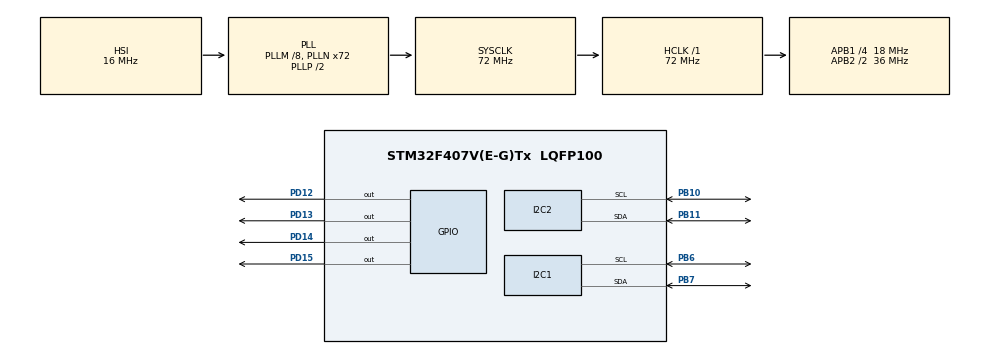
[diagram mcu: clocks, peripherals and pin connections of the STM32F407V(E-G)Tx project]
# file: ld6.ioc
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Mcu.Family=STM32F4
Mcu.Name=STM32F407V(E-G)Tx
Mcu.Package=LQFP100
NVIC.PriorityGroup=NVIC_PRIORITYGROUP_0
PA13.Mode=Trace_Asynchronous_SW
PA13.Signal=SYS_JTMS-SWDIO
PA14.Mode=Trace_Asynchronous_SW
PA14.Signal=SYS_JTCK-SWCLK
PB10.GPIO_Pu=GPIO_PULLUP
PB10.Mode=I2C
PB10.Signal=I2C2_SCL
PB11.GPIO_Pu=GPIO_PULLUP
PB11.Mode=I2C
PB11.Signal=I2C2_SDA
PB3.Mode=Trace_Asynchronous_SW
PB3.Signal=SYS_JTDO-SWO
PB6.GPIO_Pu=GPIO_PULLUP
PB6.Mode=I2C
PB6.Signal=I2C1_SCL
PB7.GPIO_Pu=GPIO_PULLUP
PB7.Mode=I2C
PB7.Signal=I2C1_SDA
PD12.Signal=GPIO_Output
PD13.Signal=GPIO_Output
PD14.Signal=GPIO_Output
PD15.Signal=GPIO_Output
ProjectManager.HeapSize=0x200
ProjectManager.StackSize=0x400
ProjectManager.TargetToolchain=STM32CubeIDE
RCC.48MHZClocksFreq_Value=20571428.57142857
RCC.AHBFreq_Value=72000000
RCC.APB1CLKDivider=RCC_HCLK_DIV4
RCC.APB1Freq_Value=18000000
RCC.APB1TimFreq_Value=36000000
RCC.APB2CLKDivider=RCC_HCLK_DIV2
RCC.APB2Freq_Value=36000000
RCC.APB2TimFreq_Value=72000000
RCC.CortexFreq_Value=72000000
RCC.HCLKFreq_Value=72000000
RCC.HSE_VALUE=8000000
RCC.HSI_VALUE=16000000
RCC.PLLM=8
RCC.PLLN=72
RCC.PLLQ=7
RCC.SYSCLKFreq_VALUE=72000000
RCC.SYSCLKSource=RCC_SYSCLKSOURCE_PLLCLK
RCC.VCOOutputFreq_Value=144000000
board=STM32F407G-DISC1

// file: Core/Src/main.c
/* USER CODE BEGIN Header */
/**
  ******************************************************************************
  * @file           : main.c
  * @brief          : Main program body
  ******************************************************************************
  * @attention
  *
  * Copyright (c) 2024 STMicroelectronics.
  * All rights reserved.
  *
  * This software is licensed under terms that can be found in the LICENSE file
  * in the root directory of this software component.
  * If no LICENSE file comes with this software, it is provided AS-IS.
  *
  ******************************************************************************
  */
/* USER CODE END Header */
#include "main.h"

/* USER CODE BEGIN PD */
#define I2C_ADDRESS		0xFA
#define I2C_ADDRESS2		0xFB
/* USER CODE END PD */

I2C_HandleTypeDef hi2c1;
I2C_HandleTypeDef hi2c2;

/* USER CODE BEGIN PV */
uint8_t aTx = 0x01;
uint8_t aTxBuffer[3] = {0x01, 0x02, 0x01};

//uint8_t aRx;
//uint8_t aRxBuffer[3];
/* USER CODE END PV */

void SystemClock_Config(void);
static void MX_GPIO_Init(void);
static void MX_I2C2_Init(void);
static void MX_I2C1_Init(void);

int main(void)
{

  /* MCU Configuration--------------------------------------------------------*/

  /* Reset of all peripherals, Initializes the Flash interface and the Systick. */
  HAL_Init();

  /* Configure the system clock */
  SystemClock_Config();

  /* Initialize all configured peripherals */
  MX_GPIO_Init();
  MX_I2C2_Init();
  MX_I2C1_Init();

  /* Infinite loop */
  /* USER CODE BEGIN WHILE */
  int uzd = 2;
  int i = 0;
  while (1)
  {
    /* USER CODE END WHILE */

    /* USER CODE BEGIN 3 */
	  if (uzd==1) {
		  if (HAL_I2C_IsDeviceReady(&hi2c2, I2C_ADDRESS, 1, 10) == HAL_OK) {
		  		  HAL_GPIO_WritePin(GPIOD, GPIO_PIN_15, GPIO_PIN_SET);

		  		  HAL_I2C_Master_Transmit(&hi2c2, I2C_ADDRESS, &aTx, 1, 10);
		  	  } else {
		  		  HAL_GPIO_WritePin(GPIOD, GPIO_PIN_12, GPIO_PIN_SET);
		  	  }
	  }
	  if (uzd==2) {
		  if (HAL_I2C_IsDeviceReady(&hi2c1, I2C_ADDRESS, 1, 10) == HAL_OK) {
		  		  		  HAL_GPIO_WritePin(GPIOD, GPIO_PIN_15, GPIO_PIN_SET);

		  		  		  HAL_I2C_Master_Transmit(&hi2c1, I2C_ADDRESS, &aTxBuffer[i], 1, 10);
		  		  	  } else {
		  		  		  HAL_GPIO_WritePin(GPIOD, GPIO_PIN_12, GPIO_PIN_SET);
		  		  	  }
		  if (i < 3) {
			  i = i+1;
		  } else {
			  i = 0;
		  }
	  }

	  //if (i < 2) {
		//  i = i+1
	  //}
  }

  /* USER CODE END 3 */
}

void SystemClock_Config(void)
{
  RCC_OscInitTypeDef RCC_OscInitStruct = {0};
  RCC_ClkInitTypeDef RCC_ClkInitStruct = {0};

  /** Configure the main internal regulator output voltage
  */
  __HAL_RCC_PWR_CLK_ENABLE();
  __HAL_PWR_VOLTAGESCALING_CONFIG(PWR_REGULATOR_VOLTAGE_SCALE1);

  /** Initializes the RCC Oscillators according to the specified parameters
  * in the RCC_OscInitTypeDef structure.
  */
  RCC_OscInitStruct.OscillatorType = RCC_OSCILLATORTYPE_HSI;
  RCC_OscInitStruct.HSIState = RCC_HSI_ON;
  RCC_OscInitStruct.HSICalibrationValue = RCC_HSICALIBRATION_DEFAULT;
  RCC_OscInitStruct.PLL.PLLState = RCC_PLL_ON;
  RCC_OscInitStruct.PLL.PLLSource = RCC_PLLSOURCE_HSI;
  RCC_OscInitStruct.PLL.PLLM = 8;
  RCC_OscInitStruct.PLL.PLLN = 72;
  RCC_OscInitStruct.PLL.PLLP = RCC_PLLP_DIV2;
  RCC_OscInitStruct.PLL.PLLQ = 7;
  if (HAL_RCC_OscConfig(&RCC_OscInitStruct) != HAL_OK)
  {
    Error_Handler();
  }

  /** Initializes the CPU, AHB and APB buses clocks
  */
  RCC_ClkInitStruct.ClockType = RCC_CLOCKTYPE_HCLK|RCC_CLOCKTYPE_SYSCLK
                              |RCC_CLOCKTYPE_PCLK1|RCC_CLOCKTYPE_PCLK2;
  RCC_ClkInitStruct.SYSCLKSource = RCC_SYSCLKSOURCE_PLLCLK;
  RCC_ClkInitStruct.AHBCLKDivider = RCC_SYSCLK_DIV1;
  RCC_ClkInitStruct.APB1CLKDivider = RCC_HCLK_DIV4;
  RCC_ClkInitStruct.APB2CLKDivider = RCC_HCLK_DIV2;

  if (HAL_RCC_ClockConfig(&RCC_ClkInitStruct, FLASH_LATENCY_2) != HAL_OK)
  {
    Error_Handler();
  }
}

static void MX_I2C1_Init(void)
{

  hi2c1.Instance = I2C1;
  hi2c1.Init.ClockSpeed = 100000;
  hi2c1.Init.DutyCycle = I2C_DUTYCYCLE_2;
  hi2c1.Init.OwnAddress1 = 0;
  hi2c1.Init.AddressingMode = I2C_ADDRESSINGMODE_7BIT;
  hi2c1.Init.DualAddressMode = I2C_DUALADDRESS_DISABLE;
  hi2c1.Init.OwnAddress2 = 0;
  hi2c1.Init.GeneralCallMode = I2C_GENERALCALL_DISABLE;
  hi2c1.Init.NoStretchMode = I2C_NOSTRETCH_DISABLE;
  if (HAL_I2C_Init(&hi2c1) != HAL_OK)
  {
    Error_Handler();
  }

}

static void MX_I2C2_Init(void)
{

  hi2c2.Instance = I2C2;
  hi2c2.Init.ClockSpeed = 100000;
  hi2c2.Init.DutyCycle = I2C_DUTYCYCLE_2;
  hi2c2.Init.OwnAddress1 = 0;
  hi2c2.Init.AddressingMode = I2C_ADDRESSINGMODE_7BIT;
  hi2c2.Init.DualAddressMode = I2C_DUALADDRESS_DISABLE;
  hi2c2.Init.OwnAddress2 = 0;
  hi2c2.Init.GeneralCallMode = I2C_GENERALCALL_DISABLE;
  hi2c2.Init.NoStretchMode = I2C_NOSTRETCH_DISABLE;
  if (HAL_I2C_Init(&hi2c2) != HAL_OK)
  {
    Error_Handler();
  }

}

static void MX_GPIO_Init(void)
{
  GPIO_InitTypeDef GPIO_InitStruct = {0};

  /* GPIO Ports Clock Enable */
  __HAL_RCC_GPIOB_CLK_ENABLE();
  __HAL_RCC_GPIOD_CLK_ENABLE();
  __HAL_RCC_GPIOA_CLK_ENABLE();

  /*Configure GPIO pin Output Level */
  HAL_GPIO_WritePin(GPIOD, GPIO_PIN_12|GPIO_PIN_13|GPIO_PIN_14|GPIO_PIN_15, GPIO_PIN_RESET);

  /*Configure GPIO pins : PD12 PD13 PD14 PD15 */
  GPIO_InitStruct.Pin = GPIO_PIN_12|GPIO_PIN_13|GPIO_PIN_14|GPIO_PIN_15;
  GPIO_InitStruct.Mode = GPIO_MODE_OUTPUT_PP;
  GPIO_InitStruct.Pull = GPIO_NOPULL;
  GPIO_InitStruct.Speed = GPIO_SPEED_FREQ_LOW;
  HAL_GPIO_Init(GPIOD, &GPIO_InitStruct);

}

void Error_Handler(void)
{
  __disable_irq();
  while (1)
  {
  }
}
